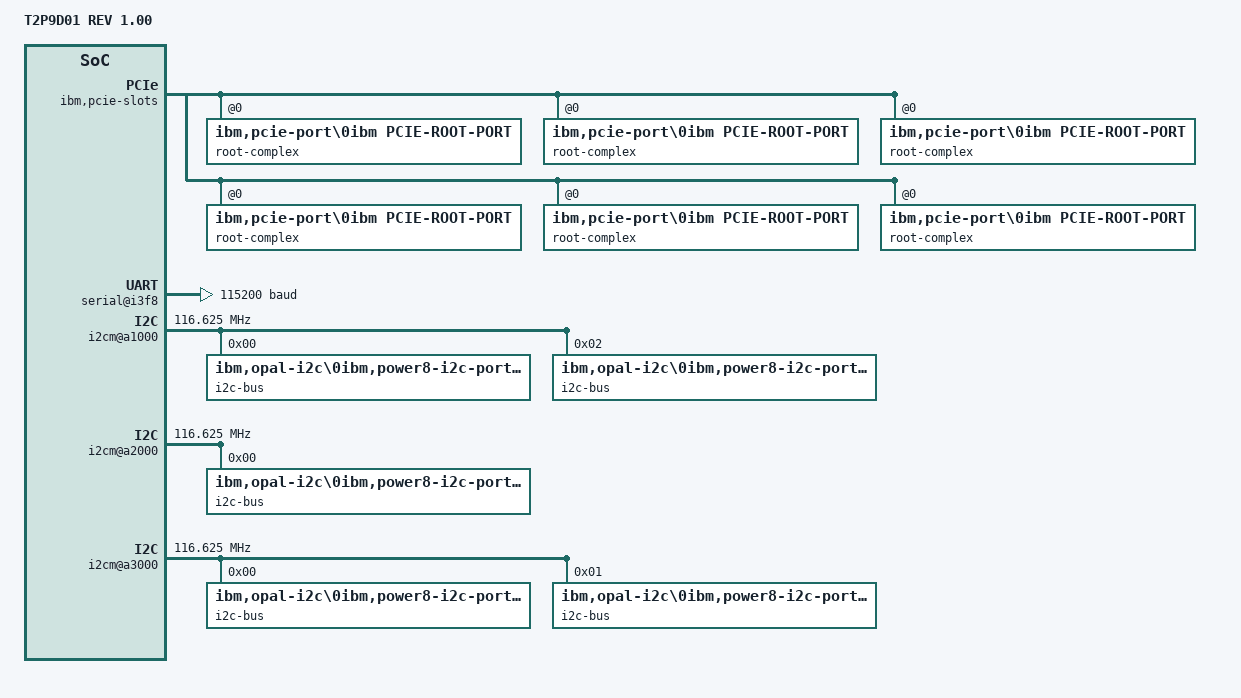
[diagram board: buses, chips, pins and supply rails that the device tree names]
/* SPDX-License-Identifier: GPL-2.0-only */

/* This is a base DT common to 1- and 2-CPU configurations */

/dts-v1/;

/ {
	#address-cells = <0x02>;
	#size-cells = <0x02>;
	compatible = "ibm,powernv\0ibm,p9-openbmc\0rcs,talos";
	nest-frequency = <0x00 0x6f38e680>;
	vendor = "IBM";
	ibm,sw-checkstop-fir = <0x5012000 0x1f>;
	model = "T2P9D01 REV 1.00";	/* TODO: unhardcode */
	/* TODO: system-id = "A1234567" */
	model-name = "rcs,talos";

	bmc {
		#address-cells = <0x01>;
		#size-cells = <0x00>;
		compatible = "ibm,ast2500,openbmc";

		sensors {
			#address-cells = <0x01>;
			#size-cells = <0x00>;

			sensor@1 {
				compatible = "ibm,ipmi-sensor";
				reg = <0x01>;
				ipmi-sensor-type = <0x22>;
			};

			sensor@2 {
				compatible = "ibm,ipmi-sensor";
				reg = <0x02>;
				ipmi-sensor-type = <0x0f>;
			};

			sensor@3 {
				compatible = "ibm,ipmi-sensor";
				reg = <0x03>;
				ipmi-sensor-type = <0x07>;
				ibm,chip-id = <0x00>;
			};

			sensor@6 {
				compatible = "ibm,ipmi-sensor";
				reg = <0x06>;
				ipmi-sensor-type = <0x01>;
				ibm,chip-id = <0x00>;
			};

			sensor@8 {
				compatible = "ibm,ipmi-sensor";
				reg = <0x08>;
				ipmi-sensor-type = <0x07>;
				ibm,chip-id = <0x00>;
			};

			sensor@a {
				compatible = "ibm,ipmi-sensor";
				reg = <0x0a>;
				ipmi-sensor-type = <0xc1>;
			};

			sensor@8b {
				compatible = "ibm,ipmi-sensor";
				reg = <0x8b>;
				ipmi-sensor-type = <0xc3>;
			};

			sensor@8c {
				compatible = "ibm,ipmi-sensor";
				reg = <0x8c>;
				ipmi-sensor-type = <0xc7>;
			};

			sensor@8d {
				compatible = "ibm,ipmi-sensor";
				reg = <0x8d>;
				ipmi-sensor-type = <0xc7>;
			};

			sensor@8e {
				compatible = "ibm,ipmi-sensor";
				reg = <0x8e>;
				ipmi-sensor-type = <0xc7>;
			};

			sensor@8f {
				compatible = "ibm,ipmi-sensor";
				reg = <0x8f>;
				ipmi-sensor-type = <0xc7>;
			};

			sensor@90 {
				compatible = "ibm,ipmi-sensor";
				reg = <0x90>;
				ipmi-sensor-type = <0x12>;
			};

			sensor@91 {
				compatible = "ibm,ipmi-sensor";
				reg = <0x91>;
				ipmi-sensor-type = <0x1f>;
			};

			sensor@92 {
				compatible = "ibm,ipmi-sensor";
				reg = <0x92>;
				ipmi-sensor-type = <0xc4>;
			};

			sensor@93 {
				compatible = "ibm,ipmi-sensor";
				reg = <0x93>;
				ipmi-sensor-type = <0xc7>;
			};

			sensor@94 {
				compatible = "ibm,ipmi-sensor";
				reg = <0x94>;
				ipmi-sensor-type = <0xc2>;
			};

			sensor@95 {
				compatible = "ibm,ipmi-sensor";
				reg = <0x95>;
				ipmi-sensor-type = <0xca>;
			};

			sensor@96 {
				compatible = "ibm,ipmi-sensor";
				reg = <0x96>;
				ipmi-sensor-type = <0xc8>;
			};

			sensor@97 {
				compatible = "ibm,ipmi-sensor";
				reg = <0x97>;
				ipmi-sensor-type = <0xc6>;
			};
		};
	};

	cpus {
		#address-cells = <0x01>;
		#size-cells = <0x00>;
	};

	ibm,opal {

		leds {
			led-mode = "lightpath";
		};

		power-mgt {
			ibm,enabled-stop-levels = <0xec000000>;
		};

	};

	ibm,pcie-slots {
		#address-cells = <0x02>;
		#size-cells = <0x00>;

		root-complex@0,0 {
			reg = <0x00 0x00>;
			#address-cells = <0x02>;
			#size-cells = <0x00>;
			compatible = "ibm,pcie-port\0ibm,pcie-root-port";
			ibm,chip-id = <0x00>;
			ibm,slot-label = "SLOT3";

			pluggable {
				mrw-slot-id = <0x03>;
				lane-mask = <0xffff>;
				ibm,slot-label = "SLOT3";
			};
		};

		root-complex@0,1 {
			reg = <0x00 0x01>;
			#address-cells = <0x02>;
			#size-cells = <0x00>;
			compatible = "ibm,pcie-port\0ibm,pcie-root-port";
			ibm,chip-id = <0x00>;
			lane-mask = <0xff00>;
			lanes-reversed = <0x1111>;

			builtin {
			};
		};

		root-complex@0,2 {
			reg = <0x00 0x02>;
			#address-cells = <0x02>;
			#size-cells = <0x00>;
			compatible = "ibm,pcie-port\0ibm,pcie-root-port";
			ibm,chip-id = <0x00>;
			lane-mask = <0xff>;

			builtin {
			};
		};

		root-complex@0,3 {
			reg = <0x00 0x03>;
			#address-cells = <0x02>;
			#size-cells = <0x00>;
			compatible = "ibm,pcie-port\0ibm,pcie-root-port";
			ibm,chip-id = <0x00>;
			ibm,slot-label = "SLOT1";

			pluggable {
				mrw-slot-id = <0x01>;
				lane-mask = <0xff00>;
				ibm,slot-label = "SLOT1";
			};
		};

		root-complex@0,4 {
			reg = <0x00 0x04>;
			#address-cells = <0x02>;
			#size-cells = <0x00>;
			compatible = "ibm,pcie-port\0ibm,pcie-root-port";
			ibm,chip-id = <0x00>;
			lane-mask = <0xf0>;

			switch-up@10b5,8725 {
				reg = <0x10b5 0x8725>;
				#address-cells = <0x01>;
				#size-cells = <0x00>;
				upstream-port = <0x00>;
				ibm,pluggable;

				down-port@a {
					compatible = "ibm,pcie-port";
					reg = <0x0a>;
					ibm,pluggable;
					ibm,slot-label = "GPU0";

					builtin {
						ibm,slot-label = "GPU0";
					};
				};

				down-port@b {
					compatible = "ibm,pcie-port";
					reg = <0x0b>;
					ibm,pluggable;
					ibm,slot-label = "GPU1";

					builtin {
						ibm,slot-label = "GPU1";
					};
				};

				down-port@c {
					compatible = "ibm,pcie-port";
					reg = <0x0c>;
					ibm,pluggable;
					ibm,slot-label = "GPU2";

					builtin {
						ibm,slot-label = "GPU2";
					};
				};
			};
		};

		root-complex@0,5 {
			reg = <0x00 0x05>;
			#address-cells = <0x02>;
			#size-cells = <0x00>;
			compatible = "ibm,pcie-port\0ibm,pcie-root-port";
			ibm,chip-id = <0x00>;
			lane-mask = <0x0f>;

			builtin {
			};
		};
	};

	lpcm-opb@6030000000000 {
		#address-cells = <0x01>;
		#size-cells = <0x01>;
		compatible = "ibm,power9-lpcm-opb\0simple-bus";
		reg = <0x60300 0x00 0x01 0x00>;
		ibm,chip-id = <0x00>;
		ranges = <0x00 0x60300 0x00 0x80000000 0x80000000 0x60300 0x80000000 0x80000000>;

		lpc-controller@c0012000 {
			compatible = "ibm,power9-lpc-controller";
			reg = <0xc0012000 0x100>;
		};

		lpc@0 {
			#address-cells = <0x02>;
			#size-cells = <0x01>;
			compatible = "ibm,power9-lpc\0ibm,power8-lpc";
			ranges = <0x00 0x00 0xe0000000 0x10000000 0x01 0x00 0xd0010000 0x10000 0x03 0x00 0xf0000000 0x10000000>;

			serial@i3f8 {
				reg = <0x01 0x3f8 0x01>;
				compatible = "ns16550";
				current-speed = <0x1c200>;
				clock-frequency = <0x1c2000>;
				interrupts = <0x04>;
				device_type = "serial";
			};
		};

		opb-arbiter@c0011000 {
			compatible = "ibm,power9-lpcm-opb-arbiter";
			reg = <0xc0011000 0x08>;
		};

		opb-master@c0010000 {
			compatible = "ibm,power9-lpcm-opb-master";
			reg = <0xc0010000 0x60>;
		};
	};

	xscom@603fc00000000 {
		ibm,chip-id = <0x00>;
		ibm,proc-chip-id = <0x00>;
		#address-cells = <0x01>;
		#size-cells = <0x01>;
		scom-controller;
		compatible = "ibm,xscom\0ibm,power9-xscom";
		reg = <0x603fc 0x00 0x08 0x00>;
		bus-frequency = <0x00 0x1bce39a0>;
		primary;

		chiptod@40000 {
			reg = <0x40000 0x34>;
			compatible = "ibm,power-chiptod\0ibm,power9-chiptod";
			primary;
		};

		i2cm@a1000 {
			reg = <0xa1000 0x1000>;
			compatible = "ibm,power8-i2cm\0ibm,power9-i2cm";
			#size-cells = <0x00>;
			#address-cells = <0x01>;
			chip-engine# = <0x01>;
			clock-frequency = <0x6f38e68>;

			i2c-bus@0 {
				reg = <0x00>;
				#size-cells = <0x00>;
				#address-cells = <0x01>;
				compatible = "ibm,opal-i2c\0ibm,power8-i2c-port\0ibm,power9-i2c-port";
				bus-frequency = <0xf4240>;

				eeprom@50 {
					reg = <0x50>;
					link-id = <0x02>;
					compatible = "atmel,24c512";
					label = "module-vpd";
				};
			};

			i2c-bus@2 {
				reg = <0x02>;
				#size-cells = <0x00>;
				#address-cells = <0x01>;
				compatible = "ibm,opal-i2c\0ibm,power8-i2c-port\0ibm,power9-i2c-port";
				bus-frequency = <0xf4240>;

				eeprom@50 {
					reg = <0x50>;
					link-id = <0x04>;
					compatible = "atmel,24c128";
					label = "module-vpd";
				};
			};
		};

		i2cm@a2000 {
			reg = <0xa2000 0x1000>;
			compatible = "ibm,power8-i2cm\0ibm,power9-i2cm";
			#size-cells = <0x00>;
			#address-cells = <0x01>;
			chip-engine# = <0x02>;
			clock-frequency = <0x6f38e68>;

			i2c-bus@0 {
				reg = <0x00>;
				#size-cells = <0x00>;
				#address-cells = <0x01>;
				compatible = "ibm,opal-i2c\0ibm,power8-i2c-port\0ibm,power9-i2c-port";
				bus-frequency = <0x61a80>;

				eeprom@50 {
					reg = <0x50>;
					link-id = <0x06>;
					compatible = "atmel,24c128";
					label = "module-vpd";
				};
			};
		};

		i2cm@a3000 {
			reg = <0xa3000 0x1000>;
			compatible = "ibm,power8-i2cm\0ibm,power9-i2cm";
			#size-cells = <0x00>;
			#address-cells = <0x01>;
			chip-engine# = <0x03>;
			clock-frequency = <0x6f38e68>;

			i2c-bus@0 {
				reg = <0x00>;
				#size-cells = <0x00>;
				#address-cells = <0x01>;
				compatible = "ibm,opal-i2c\0ibm,power8-i2c-port\0ibm,power9-i2c-port";
				bus-frequency = <0x61a80>;
			};

			i2c-bus@1 {
				reg = <0x01>;
				#size-cells = <0x00>;
				#address-cells = <0x01>;
				compatible = "ibm,opal-i2c\0ibm,power8-i2c-port\0ibm,power9-i2c-port";
				bus-frequency = <0x61a80>;
			};
		};

		nmmu@5012c40 {
			compatible = "ibm,power9-nest-mmu";
			reg = <0x5012c40 0x20>;
		};

		nx@2010000 {
			compatible = "ibm,power9-nx";
			reg = <0x2010000 0x4000>;
		};

		pbcq@4010c00 {
			reg = <0x4010c00 0x100 0xd010800 0x200>;
			compatible = "ibm,power9-pbcq";
			ibm,pec-index = <0x00>;
			#address-cells = <0x01>;
			#size-cells = <0x00>;
			ibm,hub-id = <0x00>;

			stack@0 {
				reg = <0x00>;
				ibm,phb-index = <0x00>;
				compatible = "ibm,power9-phb-stack";
				status = "okay";
				ibm,lane-eq = <0x54545454 0x54545454 0x54545454 0x54545454 0x54545454 0x54545454 0x54545454 0x54545454 0x77777777 0x77777777 0x77777777 0x77777777>;
			};
		};

		pbcq@4011000 {
			reg = <0x4011000 0x100 0xe010800 0x200>;
			compatible = "ibm,power9-pbcq";
			ibm,pec-index = <0x01>;
			#address-cells = <0x01>;
			#size-cells = <0x00>;
			ibm,hub-id = <0x00>;

			stack@0 {
				reg = <0x00>;
				ibm,phb-index = <0x01>;
				compatible = "ibm,power9-phb-stack";
				status = "okay";
				ibm,lane-eq = <0x54545454 0x54545454 0x54545454 0x54545454 0x54545454 0x54545454 0x54545454 0x54545454 0x77777777 0x77777777 0x77777777 0x77777777>;
			};

			stack@1 {
				reg = <0x01>;
				ibm,phb-index = <0x02>;
				compatible = "ibm,power9-phb-stack";
				status = "okay";
				ibm,lane-eq = <0x54545454 0x54545454 0x54545454 0x54545454 0x54545454 0x54545454 0x54545454 0x54545454 0x77777777 0x77777777 0x77777777 0x77777777>;
			};
		};

		pbcq@4011400 {
			reg = <0x4011400 0x100 0xf010800 0x200>;
			compatible = "ibm,power9-pbcq";
			ibm,pec-index = <0x02>;
			#address-cells = <0x01>;
			#size-cells = <0x00>;
			ibm,hub-id = <0x00>;

			stack@0 {
				reg = <0x00>;
				ibm,phb-index = <0x03>;
				compatible = "ibm,power9-phb-stack";
				status = "okay";
				ibm,lane-eq = <0x54545454 0x54545454 0x54545454 0x54545454 0x54545454 0x54545454 0x54545454 0x54545454 0x77777777 0x77777777 0x77777777 0x77777777>;
			};

			stack@1 {
				reg = <0x01>;
				ibm,phb-index = <0x04>;
				compatible = "ibm,power9-phb-stack";
				status = "okay";
				ibm,lane-eq = <0x54545454 0x54545454 0x54545454 0x54545454 0x54545454 0x54545454 0x54545454 0x54545454 0x77777777 0x77777777 0x77777777 0x77777777>;
			};

			stack@2 {
				reg = <0x02>;
				ibm,phb-index = <0x05>;
				compatible = "ibm,power9-phb-stack";
				status = "okay";
				ibm,lane-eq = <0x54545454 0x54545454 0x54545454 0x54545454 0x54545454 0x54545454 0x54545454 0x54545454 0x77777777 0x77777777 0x77777777 0x77777777>;
			};
		};

		psihb@5012900 {
			reg = <0x5012900 0x100>;
			compatible = "ibm,power9-psihb-x\0ibm,psihb-x";
		};

		vas@3011800 {
			reg = <0x3011800 0x300>;
			compatible = "ibm,power9-vas-x";
			ibm,vas-id = <0x00>;
		};

		xive@5013000 {
			reg = <0x5013000 0x300>;
			compatible = "ibm,power9-xive-x";
			force-assign-bars;
		};
	};
};
